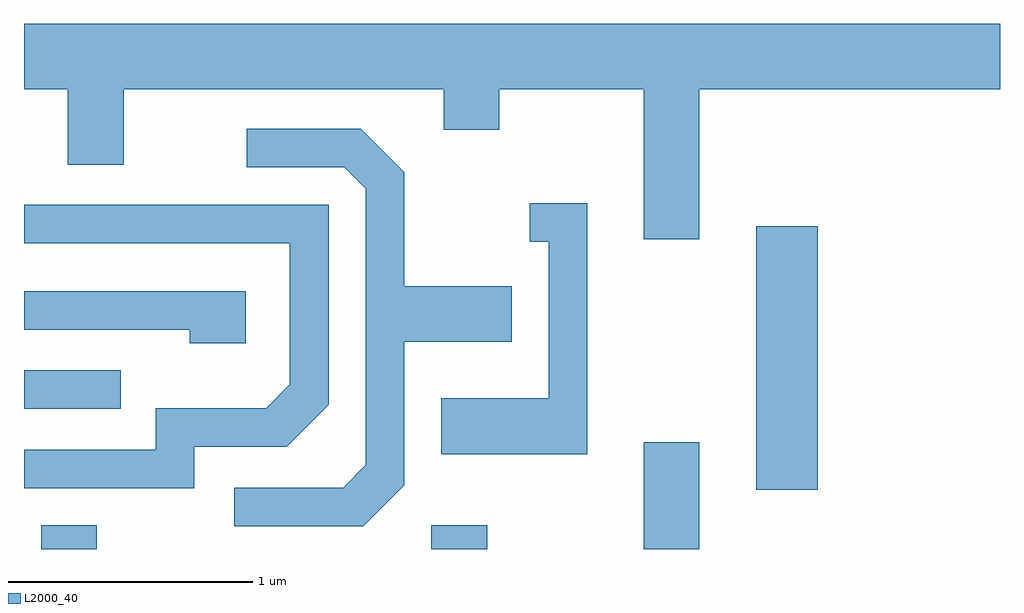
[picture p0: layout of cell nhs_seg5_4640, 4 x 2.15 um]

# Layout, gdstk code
import gdstk
lib = gdstk.Library(unit=1e-6, precision=1e-09)
def R(c, l, rs):  # rectangles x0, y0, x1, y1
    for r in rs: c.add(gdstk.rectangle(r[:2], r[2:], *l))
def P(c, l, *ps):  # polygons
    for p in ps: c.add(gdstk.Polygon(p, *l))
L2000_40 = (2000, 40)

nhs_seg5_4640 = lib.new_cell('nhs_seg5_4640')
R(nhs_seg5_4640, L2000_40, [(323.681,1406.072,323.909,1406.169), (325.281,1406.072,325.509,1406.169), (326.151,1406.072,326.379,1406.509), (326.611,1406.316,326.864,1407.394), (323.611,1406.646,324.008,1406.804)])
P(nhs_seg5_4640, L2000_40, [(326.379,1407.956),(327.611,1407.956),(327.611,1408.224),(323.611,1408.224),(323.611,1407.956),(323.791,1407.956),(323.791,1407.646),(324.019,1407.646),(324.019,1407.956),(325.331,1407.956),(325.331,1407.791),(325.559,1407.791),(325.559,1407.956),(326.151,1407.956),(326.151,1407.341),(326.379,1407.341)],
  [(325.169,1406.334),(325.169,1406.921),(325.609,1406.921),(325.609,1407.149),(325.169,1407.149),(325.169,1407.617),(324.992,1407.794),(324.523,1407.794),(324.523,1407.636),(324.924,1407.636),(325.011,1407.549),(325.011,1406.417),(324.919,1406.324),(324.473,1406.324),(324.473,1406.166),(325.002,1406.166)],
  [(325.919,1407.489),(325.683,1407.489),(325.683,1407.331),(325.761,1407.331),(325.761,1406.689),(325.321,1406.689),(325.321,1406.461),(325.919,1406.461)],
  [(324.309,1406.491),(324.687,1406.491),(324.859,1406.664),(324.859,1407.484),(323.611,1407.484),(323.611,1407.326),(324.701,1407.326),(324.701,1406.747),(324.604,1406.649),(324.151,1406.649),(324.151,1406.479),(323.611,1406.479),(323.611,1406.321),(324.309,1406.321)],
  [(324.519,1407.129),(323.611,1407.129),(323.611,1406.971),(324.291,1406.971),(324.291,1406.916),(324.519,1406.916)])

lib.write_gds('nhs_seg5_4640.gds')
